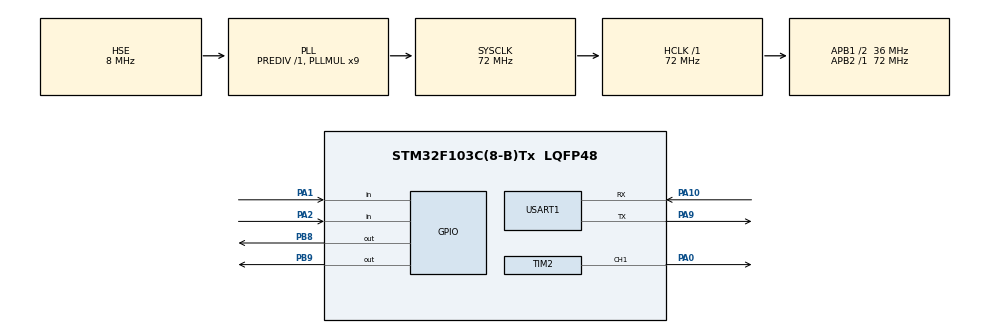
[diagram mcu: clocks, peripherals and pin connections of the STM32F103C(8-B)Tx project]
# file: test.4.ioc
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Mcu.Family=STM32F1
Mcu.Name=STM32F103C(8-B)Tx
Mcu.Package=LQFP48
NVIC.PriorityGroup=NVIC_PRIORITYGROUP_4
PA0-WKUP.Signal=S_TIM2_CH1_ETR
PA1.GPIO_PuPd=GPIO_PULLUP
PA1.Signal=GPIO_Input
PA10.Mode=Asynchronous
PA10.Signal=USART1_RX
PA13.Mode=Serial_Wire
PA13.Signal=SYS_JTMS-SWDIO
PA14.Mode=Serial_Wire
PA14.Signal=SYS_JTCK-SWCLK
PA2.GPIO_PuPd=GPIO_PULLUP
PA2.Signal=GPIO_Input
PA9.Mode=Asynchronous
PA9.Signal=USART1_TX
PB8.GPIO_ModeDefaultOutputPP=GPIO_MODE_OUTPUT_OD
PB8.GPIO_PuPd=GPIO_PULLUP
PB8.Signal=GPIO_Output
PB9.GPIO_ModeDefaultOutputPP=GPIO_MODE_OUTPUT_OD
PB9.GPIO_PuPd=GPIO_PULLUP
PB9.Signal=GPIO_Output
PC14-OSC32_IN.Mode=LSE-External-Oscillator
PC14-OSC32_IN.Signal=RCC_OSC32_IN
PC15-OSC32_OUT.Mode=LSE-External-Oscillator
PC15-OSC32_OUT.Signal=RCC_OSC32_OUT
PD0-OSC_IN.Mode=HSE-External-Oscillator
PD0-OSC_IN.Signal=RCC_OSC_IN
PD1-OSC_OUT.Mode=HSE-External-Oscillator
PD1-OSC_OUT.Signal=RCC_OSC_OUT
ProjectManager.HeapSize=0x200
ProjectManager.StackSize=0x400
ProjectManager.TargetToolchain=STM32CubeIDE
RCC.AHBFreq_Value=72000000
RCC.APB1CLKDivider=RCC_HCLK_DIV2
RCC.APB1Freq_Value=36000000
RCC.APB1TimFreq_Value=72000000
RCC.APB2Freq_Value=72000000
RCC.APB2TimFreq_Value=72000000
RCC.HCLKFreq_Value=72000000
RCC.PLLMUL=RCC_PLL_MUL9
RCC.PLLSourceVirtual=RCC_PLLSOURCE_HSE
RCC.SYSCLKFreq_VALUE=72000000
RCC.SYSCLKSource=RCC_SYSCLKSOURCE_PLLCLK
RCC.USBFreq_Value=72000000
SH.S_TIM2_CH1_ETR.0=TIM2_CH1,PWM Generation1 CH1
TIM2.Channel-PWM\ Generation1\ CH1=TIM_CHANNEL_1
TIM2.Period=19999
TIM2.Prescaler=71
USART1.VirtualMode=VM_ASYNC
board=custom

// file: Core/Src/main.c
/* USER CODE BEGIN Header */
/**
  ******************************************************************************
  * @file           : main.c
  * @brief          : Main program body
  ******************************************************************************
  * @attention
  *
  * Copyright (c) 2026 STMicroelectronics.
  * All rights reserved.
  *
  * This software is licensed under terms that can be found in the LICENSE file
  * in the root directory of this software component.
  * If no LICENSE file comes with this software, it is provided AS-IS.
  *
  ******************************************************************************
  */
/* USER CODE END Header */
#include "main.h"
#include "tim.h"
#include "usart.h"
#include "gpio.h"

/* USER CODE BEGIN Includes */
#include <stdio.h>
#include "OLED.h"
/* USER CODE END Includes */

/* USER CODE BEGIN PV */
float current_angle = 90.0f;
char disp_buf[20];
/* USER CODE END PV */
/* USER CODE BEGIN PFP */
void Servo_SetAngle(float angle);
void Show_Status(float target_angle);
/* USER CODE END PFP */
void SystemClock_Config(void);

int main(void)
{

  /* MCU Configuration--------------------------------------------------------*/

  /* Reset of all peripherals, Initializes the Flash interface and the Systick. */
  HAL_Init();

  /* Configure the system clock */
  SystemClock_Config();

  /* Initialize all configured peripherals */
  MX_GPIO_Init();
  MX_TIM2_Init();
  MX_USART1_UART_Init();
  /* USER CODE BEGIN 2 */
  OLED_Init();
  OLED_Clear();
  HAL_TIM_PWM_Start(&htim2, TIM_CHANNEL_1);

  /* USER CODE END 2 */

  /* Infinite loop */
  /* USER CODE BEGIN WHILE */
  while (1)
  {
    float seq[5] = {0.0f, 45.0f, 90.0f, 135.0f, 180.0f};
    for (int i = 0; i < 5; i++)
    {
      current_angle = seq[i];
      Servo_SetAngle(current_angle);
      Show_Status(current_angle);
      HAL_Delay(1000);

    }
    while (1)
    {
      if (HAL_GPIO_ReadPin(GPIOA, GPIO_PIN_1) == GPIO_PIN_RESET)
      {
        HAL_Delay(20);
        if (HAL_GPIO_ReadPin(GPIOA, GPIO_PIN_1) == GPIO_PIN_RESET)
        {
          current_angle += 15.0f;
          if (current_angle > 180.0f) current_angle = 180.0f;
          Servo_SetAngle(current_angle);
          Show_Status(current_angle);
          while (HAL_GPIO_ReadPin(GPIOA, GPIO_PIN_1) == GPIO_PIN_RESET);
        }
      }
      if (HAL_GPIO_ReadPin(GPIOA, GPIO_PIN_2) == GPIO_PIN_RESET)
      {
        HAL_Delay(20);
        if (HAL_GPIO_ReadPin(GPIOA, GPIO_PIN_2) == GPIO_PIN_RESET)
        {
          current_angle -= 15.0f;
          if (current_angle < 0.0f) current_angle = 0.0f;
          Servo_SetAngle(current_angle);
          Show_Status(current_angle);
          while (HAL_GPIO_ReadPin(GPIOA, GPIO_PIN_2) == GPIO_PIN_RESET);
        }
      }
    }
    /* USER CODE END WHILE */

  }
}

void SystemClock_Config(void)
{
  RCC_OscInitTypeDef RCC_OscInitStruct = {0};
  RCC_ClkInitTypeDef RCC_ClkInitStruct = {0};

  /** Initializes the RCC Oscillators according to the specified parameters
  * in the RCC_OscInitTypeDef structure.
  */
  RCC_OscInitStruct.OscillatorType = RCC_OSCILLATORTYPE_HSE;
  RCC_OscInitStruct.HSEState = RCC_HSE_ON;
  RCC_OscInitStruct.HSEPredivValue = RCC_HSE_PREDIV_DIV1;
  RCC_OscInitStruct.HSIState = RCC_HSI_ON;
  RCC_OscInitStruct.PLL.PLLState = RCC_PLL_ON;
  RCC_OscInitStruct.PLL.PLLSource = RCC_PLLSOURCE_HSE;
  RCC_OscInitStruct.PLL.PLLMUL = RCC_PLL_MUL9;
  if (HAL_RCC_OscConfig(&RCC_OscInitStruct) != HAL_OK)
  {
    Error_Handler();
  }

  /** Initializes the CPU, AHB and APB buses clocks
  */
  RCC_ClkInitStruct.ClockType = RCC_CLOCKTYPE_HCLK|RCC_CLOCKTYPE_SYSCLK
                              |RCC_CLOCKTYPE_PCLK1|RCC_CLOCKTYPE_PCLK2;
  RCC_ClkInitStruct.SYSCLKSource = RCC_SYSCLKSOURCE_PLLCLK;
  RCC_ClkInitStruct.AHBCLKDivider = RCC_SYSCLK_DIV1;
  RCC_ClkInitStruct.APB1CLKDivider = RCC_HCLK_DIV2;
  RCC_ClkInitStruct.APB2CLKDivider = RCC_HCLK_DIV1;

  if (HAL_RCC_ClockConfig(&RCC_ClkInitStruct, FLASH_LATENCY_2) != HAL_OK)
  {
    Error_Handler();
  }
}

/* USER CODE BEGIN 4 */
int _write(int fd, char *ptr, int len)
{
  HAL_UART_Transmit(&huart1, (uint8_t *)ptr, len, 100);
  return len;
}
uint16_t AngleToCCR(float angle)
{
  if (angle < 2.0f) angle = 2.0f;
  if (angle > 178.0f) angle = 178.0f;
  return (uint16_t)(500.0f + (angle / 180.0f) * 2000.0f);
}
  void Servo_SetAngle(float angle)
  {
    uint16_t ccr_val = AngleToCCR(angle);
    __HAL_TIM_SET_COMPARE(&htim2, TIM_CHANNEL_1, ccr_val);
  }
void Show_Status(float target) {
  uint16_t ccr_val = AngleToCCR(target);
  sprintf(disp_buf, "Target:%03ddeg", (int)target);
  OLED_ShowString(1,1, (uint8_t *)disp_buf);
  sprintf(disp_buf, "CCR :%04d", (int)target);
  OLED_ShowString(2,1, (uint8_t *)disp_buf);
  sprintf(disp_buf, "pulse :%d.%03dms", ccr_val/1000, ccr_val%1000);
  OLED_ShowString(3,1, (uint8_t *)disp_buf);
  printf("Target=%3d CCR=%04d pulse=%d.%03dms\r\n", (int)target, ccr_val, ccr_val/1000, ccr_val%1000);
}

/* USER CODE END 4 */

void Error_Handler(void)
{
  __disable_irq();
  while (1)
  {
  }
}
